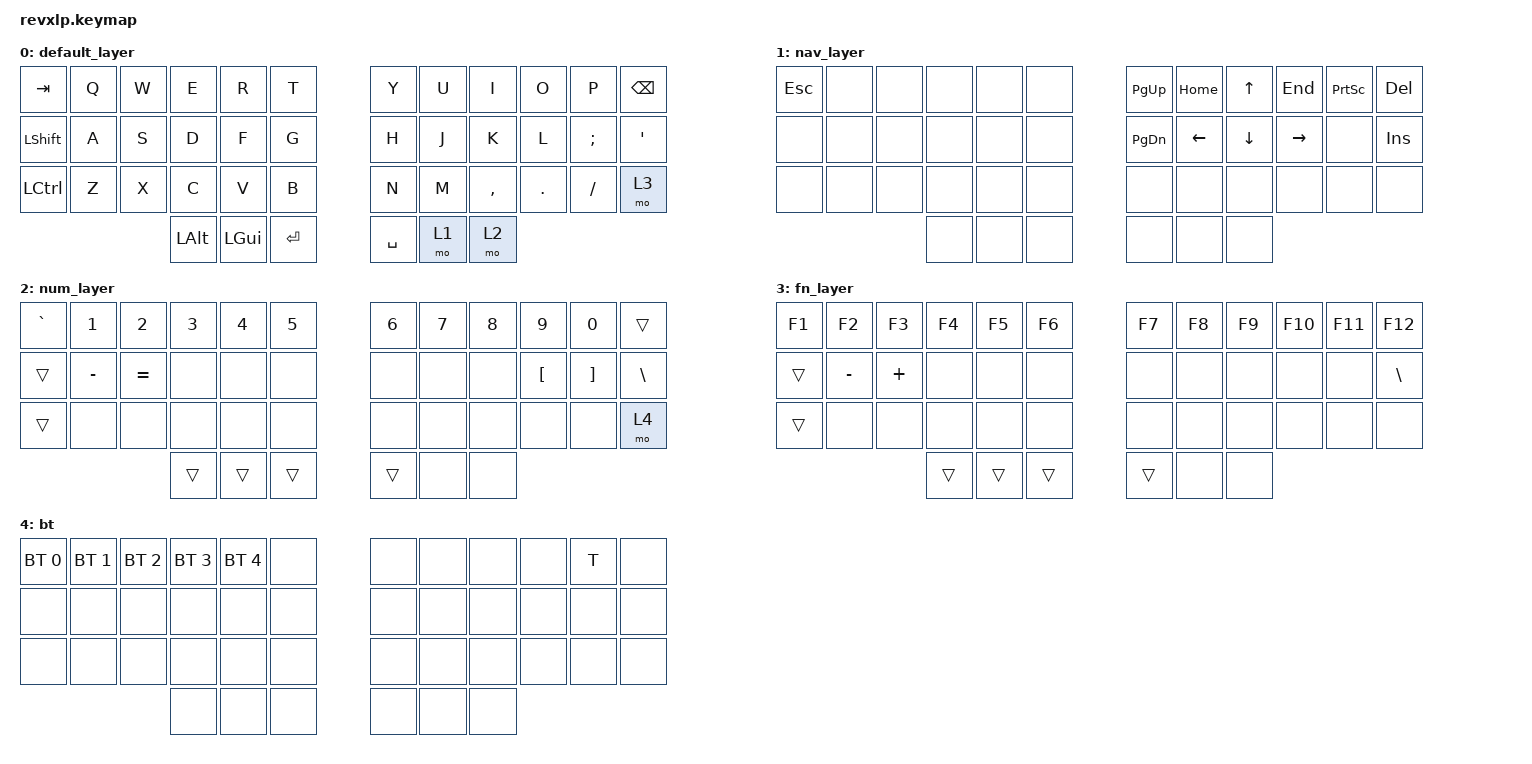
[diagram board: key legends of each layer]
/*
 * Copyright (c) 2020 The ZMK Contributors
 *
 * SPDX-License-Identifier: MIT
 */

#include <behaviors.dtsi>
#include <dt-bindings/zmk/keys.h>
#include <dt-bindings/zmk/bt.h>

/ {
    keymap {
        compatible = "zmk,keymap";

        default_layer {
            bindings = <
       &kp TAB      &kp Q      &kp W      &kp E       &kp R          &kp T         &kp Y         &kp U          &kp I       &kp O      &kp P    &kp BKSP
       &kp LSHFT    &kp A      &kp S      &kp D       &kp F          &kp G         &kp H         &kp J          &kp K       &kp L      &kp SEMI &kp QUOT
       &kp LCTRL    &kp Z      &kp X      &kp C       &kp V          &kp B         &kp N         &kp M          &kp COMMA   &kp DOT    &kp FSLH &mo 3
                                          &kp LALT    &kp LGUI       &kp ENTER     &kp SPACE     &mo 1          &mo 2
            >;
        };

        nav_layer {
            bindings = <
       &kp ESC      &none      &none      &none       &none          &none         &kp PG_UP     &kp HOME       &kp UP      &kp END    &kp PSCRN &kp DEL
       &none        &none      &none      &none       &none          &none         &kp PG_DN     &kp LEFT       &kp DOWN    &kp RIGHT  &none     &kp INS
       &none        &none      &none      &none       &none          &none         &none         &none          &none       &none      &none     &none
                                          &none       &none          &none         &none         &none          &none
            >;
        };

        num_layer {
            bindings = <
       &kp GRAVE    &kp N1     &kp N2     &kp N3      &kp N4         &kp N5        &kp N6        &kp N7         &kp N8      &kp N9     &kp N0    &trans
       &trans       &kp MINUS  &kp EQUAL  &none       &none          &none         &none         &none          &none       &kp LBKT   &kp RBKT  &kp BSLH
       &trans       &none      &none      &none       &none          &none         &none         &none          &none       &none      &none     &mo 4
                                          &trans      &trans         &trans        &trans        &none          &none
            >;
        };

        fn_layer {
            bindings = <
       &kp F1       &kp F2     &kp F3     &kp F4      &kp F5          &kp F6        &kp F7        &kp F8         &kp F9      &kp F10    &kp F11  &kp F12
       &trans       &kp MINUS  &kp PLUS   &none       &none           &none         &none         &none          &none       &none      &none    &kp BSLH
       &trans       &none      &none      &none       &none           &none         &none         &none          &none       &none      &none    &none
                                          &trans      &trans          &trans        &trans        &none          &none
            >;
        };

        bt_layer {
            label = "bt";
            bindings = <
       &bt BT_SEL 0   &bt BT_SEL 1   &bt BT_SEL 2   &bt BT_SEL 3   &bt BT_SEL 4    &none     &none      &none       &none    &none     &kp T      &none
       &none        &none      &none      &none       &none           &none        &none          &none          &none       &none     &none      &none
       &none        &none      &none      &none       &none           &none        &none          &none          &none       &none     &none      &none
                                          &none       &none           &none        &none          &none          &none
            >;
        };
    };
};
